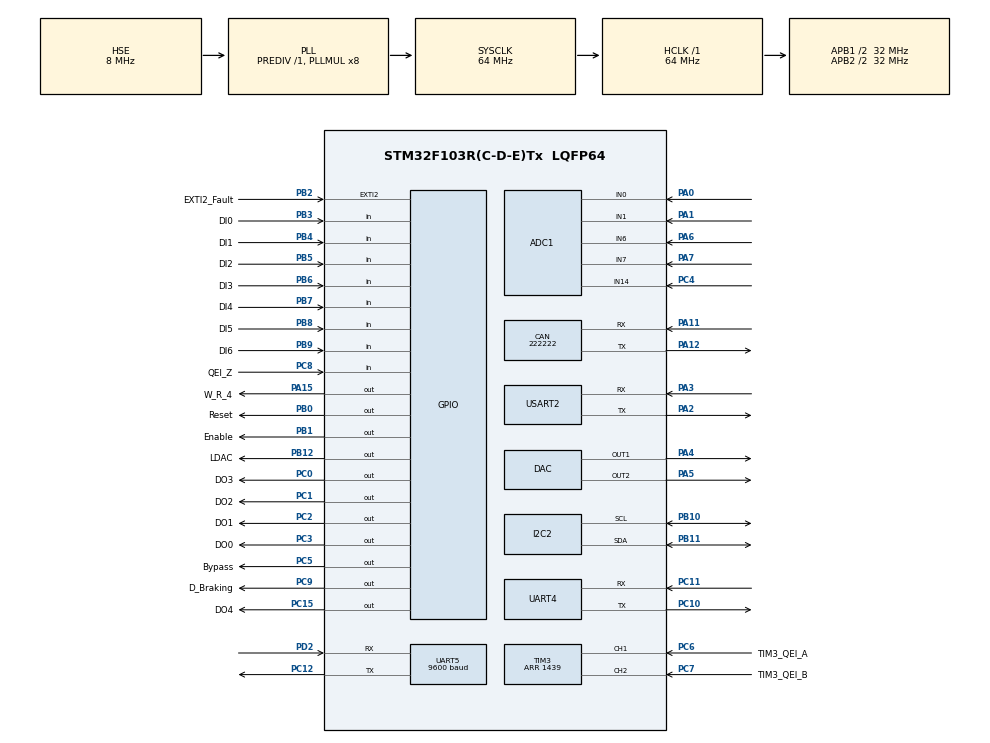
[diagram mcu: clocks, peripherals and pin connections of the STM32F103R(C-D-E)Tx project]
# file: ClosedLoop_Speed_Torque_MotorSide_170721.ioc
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ADC1.Channel-1\#ChannelRegularConversion=ADC_CHANNEL_0
ADC1.Channel-2\#ChannelRegularConversion=ADC_CHANNEL_1
ADC1.Channel-3\#ChannelRegularConversion=ADC_CHANNEL_6
ADC1.Channel-4\#ChannelRegularConversion=ADC_CHANNEL_7
ADC1.Channel-5\#ChannelRegularConversion=ADC_CHANNEL_14
ADC1.EnableRegularConversion=ENABLE
ADC1.NbrOfConversion=5
ADC1.NbrOfConversionFlag=1
ADC1.Rank-1\#ChannelRegularConversion=1
ADC1.Rank-2\#ChannelRegularConversion=2
ADC1.Rank-3\#ChannelRegularConversion=3
ADC1.Rank-4\#ChannelRegularConversion=4
ADC1.Rank-5\#ChannelRegularConversion=5
ADC1.SamplingTime-1\#ChannelRegularConversion=ADC_SAMPLETIME_1CYCLE_5
ADC1.SamplingTime-2\#ChannelRegularConversion=ADC_SAMPLETIME_1CYCLE_5
ADC1.SamplingTime-3\#ChannelRegularConversion=ADC_SAMPLETIME_1CYCLE_5
ADC1.SamplingTime-4\#ChannelRegularConversion=ADC_SAMPLETIME_1CYCLE_5
ADC1.SamplingTime-5\#ChannelRegularConversion=ADC_SAMPLETIME_1CYCLE_5
ADC1.master=1
CAN.ABOM=ENABLE
CAN.AWUM=ENABLE
CAN.BS1=CAN_BS1_3TQ
CAN.BS2=CAN_BS2_5TQ
CAN.CalculateBaudRate=222222
CAN.CalculateTimeBit=4500.00
CAN.CalculateTimeQuantum=500.0
Dma.ADC1.0.Direction=DMA_PERIPH_TO_MEMORY
Dma.ADC1.0.Instance=DMA1_Channel1
Dma.ADC1.0.MemDataAlignment=DMA_MDATAALIGN_HALFWORD
Dma.ADC1.0.MemInc=DMA_MINC_ENABLE
Dma.ADC1.0.Mode=DMA_NORMAL
Dma.ADC1.0.PeriphDataAlignment=DMA_PDATAALIGN_HALFWORD
Dma.ADC1.0.PeriphInc=DMA_PINC_DISABLE
Dma.ADC1.0.Priority=DMA_PRIORITY_VERY_HIGH
Dma.Request0=ADC1
I2C2.GeneralCallMode=I2C_GENERALCALL_ENABLE
I2C2.I2C_Mode=I2C_Standard
IWDG.Prescaler=IWDG_PRESCALER_256
IWDG.Reload=312
Mcu.Family=STM32F1
Mcu.Name=STM32F103R(C-D-E)Tx
Mcu.Package=LQFP64
NVIC.DMA1_Channel1_IRQn=true\:0\:0\:false\:false\:true\:false\:true
NVIC.EXTI2_IRQn=true\:0\:0\:false\:false\:true\:true\:true
NVIC.I2C2_ER_IRQn=true\:0\:0\:false\:false\:true\:true\:true
NVIC.I2C2_EV_IRQn=true\:0\:0\:false\:false\:true\:true\:true
NVIC.PriorityGroup=NVIC_PRIORITYGROUP_4
NVIC.TIM2_IRQn=true\:0\:0\:false\:false\:true\:true\:true
NVIC.TIM3_IRQn=true\:0\:0\:false\:false\:true\:true\:true
NVIC.TIM4_IRQn=true\:0\:0\:false\:false\:true\:true\:true
NVIC.TIM5_IRQn=true\:0\:0\:false\:false\:true\:true\:true
NVIC.TIM6_IRQn=true\:0\:0\:false\:false\:true\:true\:true
NVIC.TIM8_UP_IRQn=true\:0\:0\:false\:false\:true\:true\:true
NVIC.UART4_IRQn=true\:0\:0\:false\:false\:true\:true\:true
NVIC.UART5_IRQn=true\:0\:0\:false\:false\:true\:true\:true
NVIC.USART2_IRQn=true\:0\:0\:false\:false\:true\:true\:true
NVIC.USB_LP_CAN1_RX0_IRQn=true\:0\:0\:false\:false\:true\:true\:true
PA0-WKUP.Signal=ADCx_IN0
PA1.Signal=ADCx_IN1
PA11.Mode=CAN_Activate
PA11.Signal=CAN_RX
PA12.Mode=CAN_Activate
PA12.Signal=CAN_TX
PA13.Mode=Serial_Wire
PA13.Signal=SYS_JTMS-SWDIO
PA14.Mode=Serial_Wire
PA14.Signal=SYS_JTCK-SWCLK
PA15.GPIO_Label=W_R_4
PA15.Signal=GPIO_Output
PA2.Mode=Asynchronous
PA2.Signal=USART2_TX
PA3.Mode=Asynchronous
PA3.Signal=USART2_RX
PA4.Signal=COMP_DAC1_group
PA5.Signal=COMP_DAC2_group
PA6.Signal=ADCx_IN6
PA7.Signal=ADCx_IN7
PB0.GPIO_Label=Reset
PB0.Signal=GPIO_Output
PB1.GPIO_Label=Enable
PB1.Signal=GPIO_Output
PB10.Mode=I2C
PB10.Signal=I2C2_SCL
PB11.Mode=I2C
PB11.Signal=I2C2_SDA
PB12.GPIO_Label=LDAC
PB12.Signal=GPIO_Output
PB2.GPIO_Label=EXTI2_Fault
PB2.GPIO_ModeDefaultEXTI=GPIO_MODE_IT_FALLING
PB2.GPIO_PuPd=GPIO_PULLUP
PB2.Signal=GPXTI2
PB3.GPIO_Label=DI0
PB3.GPIO_PuPd=GPIO_PULLUP
PB3.Signal=GPIO_Input
PB4.GPIO_Label=DI1
PB4.GPIO_PuPd=GPIO_PULLUP
PB4.Signal=GPIO_Input
PB5.GPIO_Label=DI2
PB5.GPIO_PuPd=GPIO_PULLUP
PB5.Signal=GPIO_Input
PB6.GPIO_Label=DI3
PB6.GPIO_PuPd=GPIO_PULLUP
PB6.Signal=GPIO_Input
PB7.GPIO_Label=DI4
PB7.GPIO_PuPd=GPIO_PULLUP
PB7.Signal=GPIO_Input
PB8.GPIO_Label=DI5
PB8.GPIO_PuPd=GPIO_PULLUP
PB8.Signal=GPIO_Input
PB9.GPIO_Label=DI6
PB9.GPIO_PuPd=GPIO_PULLUP
PB9.Signal=GPIO_Input
PC0.GPIO_Label=DO3
PC0.Signal=GPIO_Output
PC1.GPIO_Label=DO2
PC1.Signal=GPIO_Output
PC10.Mode=Asynchronous
PC10.Signal=UART4_TX
PC11.Mode=Asynchronous
PC11.Signal=UART4_RX
PC12.Mode=Asynchronous
PC12.Signal=UART5_TX
PC15-OSC32_OUT.GPIO_Label=DO4
PC15-OSC32_OUT.Signal=GPIO_Output
PC2.GPIO_Label=DO1
PC2.Signal=GPIO_Output
PC3.GPIO_Label=DO0
PC3.Signal=GPIO_Output
PC4.Signal=ADCx_IN14
PC5.GPIO_Label=Bypass
PC5.Signal=GPIO_Output
PC6.GPIO_Label=TIM3_QEI_A
PC6.GPIO_Mode=GPIO_MODE_INPUT
PC6.GPIO_PuPd=GPIO_PULLUP
PC6.Signal=S_TIM3_CH1
PC7.GPIO_Label=TIM3_QEI_B
PC7.GPIO_Mode=GPIO_MODE_INPUT
PC7.GPIO_PuPd=GPIO_PULLUP
PC7.Signal=S_TIM3_CH2
PC8.GPIO_Label=QEI_Z
PC8.GPIO_PuPd=GPIO_PULLUP
PC8.Signal=GPIO_Input
PC9.GPIO_Label=D_Braking
PC9.Signal=GPIO_Output
PD0-OSC_IN.Mode=HSE-External-Oscillator
PD0-OSC_IN.Signal=RCC_OSC_IN
PD1-OSC_OUT.Mode=HSE-External-Oscillator
PD1-OSC_OUT.Signal=RCC_OSC_OUT
PD2.Mode=Asynchronous
PD2.Signal=UART5_RX
ProjectManager.HeapSize=0x200
ProjectManager.StackSize=0x400
ProjectManager.TargetToolchain=MDK-ARM V5.27
RCC.ADCPresc=RCC_ADCPCLK2_DIV4
RCC.AHBFreq_Value=64000000
RCC.APB1CLKDivider=RCC_HCLK_DIV2
RCC.APB1Freq_Value=32000000
RCC.APB1TimFreq_Value=64000000
RCC.APB2CLKDivider=RCC_HCLK_DIV2
RCC.APB2Freq_Value=32000000
RCC.APB2TimFreq_Value=64000000
RCC.HCLKFreq_Value=64000000
RCC.PLLMUL=RCC_PLL_MUL8
RCC.PLLSourceVirtual=RCC_PLLSOURCE_HSE
RCC.SYSCLKFreq_VALUE=64000000
RCC.SYSCLKSource=RCC_SYSCLKSOURCE_PLLCLK
RCC.USBFreq_Value=64000000
SH.ADCx_IN0.0=ADC1_IN0,IN0
SH.ADCx_IN1.0=ADC1_IN1,IN1
SH.ADCx_IN14.0=ADC1_IN14,IN14
SH.ADCx_IN6.0=ADC1_IN6,IN6
SH.ADCx_IN7.0=ADC1_IN7,IN7
SH.COMP_DAC1_group.0=DAC_OUT1,DAC_OUT1
SH.COMP_DAC2_group.0=DAC_OUT2,DAC_OUT2
SH.S_TIM3_CH1.0=TIM3_CH1,Encoder_Interface
SH.S_TIM3_CH2.0=TIM3_CH2,Encoder_Interface
TIM2.AutoReloadPreload=TIM_AUTORELOAD_PRELOAD_ENABLE
TIM2.Period=63999
TIM2.Prescaler=9
TIM3.AutoReloadPreload=TIM_AUTORELOAD_PRELOAD_ENABLE
TIM3.EncoderMode=TIM_ENCODERMODE_TI12
TIM3.IC1Filter=10
TIM3.IC2Filter=10
TIM3.Period=1439
TIM4.AutoReloadPreload=TIM_AUTORELOAD_PRELOAD_ENABLE
TIM4.Period=63999
TIM4.Prescaler=99
TIM5.AutoReloadPreload=TIM_AUTORELOAD_PRELOAD_ENABLE
TIM5.Period=63999
TIM5.Prescaler=999
TIM6.AutoReloadPreload=TIM_AUTORELOAD_PRELOAD_ENABLE
TIM6.Period=31999
TIM8.AutoReloadPreload=TIM_AUTORELOAD_PRELOAD_ENABLE
TIM8.Period=63999
TIM8.Prescaler=19
UART4.VirtualMode=Asynchronous
UART5.BaudRate=9600
UART5.VirtualMode=Asynchronous
USART2.VirtualMode=VM_ASYNC
VP_CRC_VS_CRC.Mode=CRC_Activate
VP_IWDG_VS_IWDG.Mode=IWDG_Activate
VP_TIM2_VS_ClockSourceINT.Mode=Internal
VP_TIM4_VS_ClockSourceINT.Mode=Internal
VP_TIM5_VS_ClockSourceINT.Mode=Internal
VP_TIM6_VS_ClockSourceINT.Mode=Enable_Timer
VP_TIM8_VS_ClockSourceINT.Mode=Internal
board=custom

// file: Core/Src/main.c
/* USER CODE BEGIN Header */
/**
  ******************************************************************************
  * @file           : main.c
  * @brief          : Main program body
  ******************************************************************************
  * @attention
  *
  * <h2><center>&copy; Copyright (c) 2021 STMicroelectronics.
  * All rights reserved.</center></h2>
  *
  * This software component is licensed by ST under BSD 3-Clause license,
  * the "License"; You may not use this file except in compliance with the
  * License. You may obtain a copy of the License at:
  *                        opensource.org/licenses/BSD-3-Clause
  *
  ******************************************************************************
  */
/* USER CODE END Header */
#include "main.h"

/* USER CODE BEGIN Includes */
#include "stdio.h"
/* USER CODE END Includes */

ADC_HandleTypeDef hadc1;
DMA_HandleTypeDef hdma_adc1;

CAN_HandleTypeDef hcan;

CRC_HandleTypeDef hcrc;

DAC_HandleTypeDef hdac;

I2C_HandleTypeDef hi2c2;

IWDG_HandleTypeDef hiwdg;

TIM_HandleTypeDef htim2;
TIM_HandleTypeDef htim3;
TIM_HandleTypeDef htim4;
TIM_HandleTypeDef htim5;
TIM_HandleTypeDef htim6;
TIM_HandleTypeDef htim8;

UART_HandleTypeDef huart4;
UART_HandleTypeDef huart5;
UART_HandleTypeDef huart2;

/* USER CODE BEGIN PV */
/*uart data*/
extern usartData usart2_Tx, usart2_Rx;		//ESP32 - Wifi
extern usartData usart4_Tx, usart4_Rx; 		//RS485
extern usartData usart5_Tx, usart5_Rx; 		//HMI
extern timer_Objt Tim_1ms[MaxTIMER];					//1ms software timer
extern timer_Objt Tim_10ms[MaxTIMER];				//10ms software timer
extern timer_Objt Tim_20ms[MaxTIMER];				//20ms software timer
extern timer_Objt Tim_100ms[MaxTIMER];			//100ms software timer
extern timer_Objt Tim_200ms[MaxTIMER];			//200ms software timer
extern timer_Objt Tim_1s[MaxTIMER];						//1s software timer
extern uint16_t tim1msTick, tim10msTick, tim20msTick, tim100msTick, tim200msTick, tim1sTick;
/*ADC data*/
extern adc_Objt adc_Objt_var;
extern uint16_t adc_data[7];
/*DAC data*/
extern DAC_OUT stDAC_Var;
//2nd Order Unity-Gain LPF
extern LPF stLPF_Var[NumOfLPF];
//PI speed controller
extern cPI stPI_Speed, stPI_Ia;
//State machine
extern machine_Control stMControl_Var;
extern machine_Parameter stMachine_Var;
//RAMP Generator (Ampere with Ia, and rpm with Speed)
extern RAMP stRamp_Ia, stRamp_If, stRamp_Speed, stRamp_Vol;
//Quadrature Encoder
extern QEI stQEI_Var;
//NEXTION HMI
extern NEXTION NEXVar;
uint8_t FirstCycle = 0;
/* USER CODE END PV */

void SystemClock_Config(void);
static void MX_GPIO_Init(void);
static void MX_DMA_Init(void);
static void MX_ADC1_Init(void);
static void MX_DAC_Init(void);
static void MX_TIM2_Init(void);
static void MX_TIM3_Init(void);
static void MX_UART4_Init(void);
static void MX_USART2_UART_Init(void);
static void MX_CRC_Init(void);
static void MX_IWDG_Init(void);
static void MX_I2C2_Init(void);
static void MX_UART5_Init(void);
static void MX_TIM4_Init(void);
static void MX_TIM5_Init(void);
static void MX_TIM8_Init(void);
static void MX_CAN_Init(void);
static void MX_TIM6_Init(void);

int main(void)
{
  /* USER CODE BEGIN 1 */
	static uint32_t Cnt = 0;
	uint8_t i = 0;
  /* USER CODE END 1 */

  /* MCU Configuration--------------------------------------------------------*/

  /* Reset of all peripherals, Initializes the Flash interface and the Systick. */
  HAL_Init();

  /* Configure the system clock */
  SystemClock_Config();

  /* Initialize all configured peripherals */
  MX_GPIO_Init();
  MX_DMA_Init();
  MX_ADC1_Init();
  MX_DAC_Init();
  MX_TIM2_Init();
  MX_TIM3_Init();
  MX_UART4_Init();
  MX_USART2_UART_Init();
  MX_CRC_Init();
  MX_IWDG_Init();
  MX_I2C2_Init();
  MX_UART5_Init();
  MX_TIM4_Init();
  MX_TIM5_Init();
  MX_TIM8_Init();
  MX_CAN_Init();
  MX_TIM6_Init();
  /* USER CODE BEGIN 2 */
	IWDG->KR = 0xAAAA; // Writing 0xAAAA in the Key register prevents watchdog reset
	IWDG->KR = 0xCCCC; // Start the independent watchdog timer

	HAL_GPIO_WritePin(W_R_4_GPIO_Port, W_R_4_Pin,GPIO_PIN_RESET);			//RS485 In Receive mode
	HAL_UART_Receive_IT(&huart2, &usart2_Rx.rxByte,1);								//Init usart2 interrupt
	HAL_UART_Receive_IT(&huart4, &usart4_Rx.rxByte,1);								//Init usart4 interrupt
	HAL_UART_Receive_IT (&huart5, &usart5_Rx.rxByte, 1);							//Init usart5 interrupt

	HAL_TIM_Base_Start_IT(&htim2);																		//Enable Timer interrupts - 10ms
	HAL_TIM_Base_Start_IT(&htim3);																		//Enable Timer interrupts - ENCODER Mode
	HAL_TIM_Base_Start_IT(&htim4);																		//Enable Timer interrupts - 100ms
	HAL_TIM_Base_Start_IT(&htim5);																		//Enable Timer interrupts - 1s
	HAL_TIM_Base_Start_IT(&htim6);																		//Enable Timer interrupts - 1ms
	HAL_TIM_Base_Start_IT(&htim8);																		//Enable Timer interrupts - 20ms
	HAL_TIM_Encoder_Start(&htim3, TIM_CHANNEL_ALL);										//Start Encoder

	//Calibrate the ADC
	HAL_ADCEx_Calibration_Start(&hadc1);
	//Initialize DC motor parameters
	vMachineParameterConfig(&stMachine_Var);
	//State machine Initialize
	vStateMachineConfig(&stMControl_Var, &stMachine_Var);
	//Initialize adc data
	vAdc_DataInit(&adc_Objt_var, &stMachine_Var);
	//Start DAC
	HAL_DAC_Start(&hdac, DAC_CHANNEL_1);
	HAL_DAC_Start(&hdac, DAC_CHANNEL_2);
	//Initialize DAC data
	vDAC_Init(&stDAC_Var);
	//Generate Excitation current reference
	vDAC_Write(&stDAC_Var, DAC_IfRefChannel, (stMachine_Var.Va_rated/stMControl_Var.Vdc_Nom)*DAC_MAX_Vout);
	//Torque current reference = 0
	vDAC_Write(&stDAC_Var, DAC_DutyCycle, 0);
	//Timers initialize
	vTim_Start(&Tim_1ms[0],1);					//Create 1ms time tick
	vTim_Start(&Tim_10ms[0],1);					//Create 10ms time tick
	vTim_Start(&Tim_20ms[0],1);					//Create 20ms time tick
	vTim_Start(&Tim_100ms[0],1);				//Create 100ms time tick
	vTim_Start(&Tim_200ms[0],1);				//Create 100ms time tick
	vTim_Start(&Tim_1s[0],1);						//Create 1s time tick

	tim1msTick = 0;
	tim10msTick = 0;
	tim20msTick = 0;
	tim100msTick = 0;
	tim200msTick = 0;
	tim1sTick = 0;
	//Low pass filter initialize
	vLPF_Init(&stLPF_Var[0], 100, 0.0005);		//LPF0 - For TorqueSP filter
	vLPF_Init(&stLPF_Var[1], 100, 0.0005);		//LPF1 - For SpeedSP filter
	vLPF_Init(&stLPF_Var[2], 100, 0.0005);		//LPF2 - For Ia filter
	vLPF_Init(&stLPF_Var[3], 100, 0.0005);		//LPF3 - For If filter
	vLPF_Init(&stLPF_Var[4], 10, 0.0005);			//LPF4 - For Vbus filter
	vLPF_Init(&stLPF_Var[5], 50, 0.0005);			//LPF5 - For dia/dt filter
	vLPF_Init(&stLPF_Var[6], 10, 0.0005);			//LPF6 - For EsSpeed filter
	//GPIO Initialize
	vDIO_Init();
	//Serial ports initialize
	vUsart_DataInit(&usart2_Rx);
	vUsart_DataInit(&usart4_Rx);
	vUsart_DataInit(&usart5_Rx);
	//Config PI Speed Controller 10ms sampling time
	vPI_Init(&stPI_Speed, 1, 0.1, 0.01, adc_Objt_var.MaxSpeedSP, adc_Objt_var.MaxTorqueSP);
	//Config PI amature current controller with 0.5ms sampling time
	//vPI_Init(&stPI_Ia, 1, 0.1, 0.0005, adc_Objt_var.MaxIaSP, (stMachine_Var.Va_rated/stMControl_Var.Vdc_Nom)*DAC_MAX_Vout);
	vPI_Init(&stPI_Ia, 1, 0.1, 0.0005, adc_Objt_var.MaxIaSP, (280.0/stMControl_Var.Vdc_Nom)*DAC_MAX_Vout);
	//Config Quadrature Encoder
	vQEI_Config(&stQEI_Var,360,4,0.01);
	//Config Ramp function generator
	vRamp_Config(&stRamp_Ia, 10, 10, 0, stMachine_Var.Ia_rated, 0.0005);
	vRamp_Config(&stRamp_If, 10, 10, 0, stMachine_Var.If_rated, 0.01);
	vRamp_Config(&stRamp_Speed, 10, 10, 0, stMachine_Var.Speed_rated, 0.01);
	vRamp_Config(&stRamp_Vol, 10, 10, 0, stMachine_Var.Va_rated, 0.01);
	//Config Nextion HMI
	vNEXTION_Init(&NEXVar);
  /* USER CODE END 2 */

  /* Infinite loop */
  /* USER CODE BEGIN WHILE */
  while (1)
  {
		//Scan the software timer
		if(tim1msTick ==1)
		{
			tim1msTick = 0;
			vTim_Scan(Tim_1ms);
		}
		if(tim10msTick ==1)
		{
			tim10msTick = 0;
			vTim_Scan(Tim_10ms);
		}

		if(tim20msTick ==1)
		{
			tim20msTick = 0;
			vTim_Scan(Tim_20ms);
		}

		if(tim100msTick == 1)
		{
			tim100msTick = 0;
			vTim_Scan(Tim_100ms);
		}

		if(tim200msTick == 1)
		{
			tim200msTick = 0;
			vTim_Scan(Tim_200ms);
		}
		if(tim1sTick == 1)
		{
			tim1sTick = 0;
			vTim_Scan(Tim_1s);
		}

		//Run Regular Timer Task
		if(Tim_1ms[0].En==1 && Tim_1ms[0].Output==1)			//1ms event
		{
			if(FirstCycle == 1)
			{
				//vSafetyChainHandle(&adc_Objt_var, &stMControl_Var, &stQEI_Var);
			}
			//Reset timer
			Tim_1ms[0].Output = 0;
		}
		if(Tim_10ms[0].En==1 && Tim_10ms[0].Output==1)		//10ms event
		{
			if(FirstCycle==1)
			{
				//GPIO Task
				vDI_Scan();
				vDIO_Task(&stMControl_Var);
			}
			//Reset timer
			Tim_10ms[0].Output = 0;
		}
		if(Tim_20ms[0].En==1 && Tim_20ms[0].Output==1)		//20ms event
		{

			//Reset timer
			Tim_20ms[0].Output = 0;
		}
		if(Tim_100ms[0].En==1 && Tim_100ms[0].Output==1)	//100ms event
		{
			if(Tim_100ms[0].OvfCnt == 5)
			{
				tim200msTick = 1;
				Tim_100ms[0].OvfCnt = 0;
			}

			if(FirstCycle==1)
			{
				/*Communication task*/
				//Send data to ESP32
				//vUsart_TxHandle(&adc_Objt_var,&stMControl_Var, &stRamp_Ia, &stRamp_Speed, &usart2_Tx, 2, 0x31);
			}
			//Reset timer
			Tim_100ms[0].Output = 0;
		}

		if(Tim_200ms[0].En==1 && Tim_200ms[0].Output==1)	//200ms event
		{
			if(FirstCycle==1)
			{
				/*Communication task*/
				vNEXTION_DisplayHandle(&adc_Objt_var, &stMControl_Var, &stPI_Speed, &stPI_Ia,
				&stRamp_Ia, &stRamp_Speed, &stQEI_Var, &stMachine_Var, &NEXVar);
			}
			//Reset timer
			Tim_200ms[0].Output = 0;
		}

		if(Tim_1s[0].En==1 && Tim_1s[0].Output==1)				//1s event
		{
			if(FirstCycle == 0)
			{
				if(++Cnt>2)
				{
					//First cycle task - Once time only
					//Close the bypass contactor
					HAL_GPIO_WritePin(Bypass_GPIO_Port, Bypass_Pin, GPIO_PIN_SET);
					HAL_GPIO_WritePin(DO0_GPIO_Port, DO0_Pin, GPIO_PIN_SET);
					stMControl_Var.chState = DOL;

					FirstCycle = 1;
					Cnt = 0;
				}
			}
			//Reset timer
			Tim_1s[0].Output = 0;
		}
    /* USER CODE END WHILE */

    /* USER CODE BEGIN 3 */
		//ESP32 ports scan
		if(usart2_Rx.RxFlag == 1)
		{

			usart2_Rx.RxFlag = 0;
			usart2_Rx.STATE = USART_WAIT;
		}
		//RS485 ports scan
		if(usart4_Rx.RxFlag == 1)
		{
			/*Send data via RS485*/
			vUsart4_RxHandle(&usart4_Rx,&usart4_Tx,&stMControl_Var,&adc_Objt_var);
			usart4_Rx.RxFlag = 0;
			usart4_Rx.STATE = USART_WAIT;
		}
		//HMI ports scan
		if(usart5_Rx.RxFlag == 1)
		{
			vUsart5_rxHandle(&usart5_Rx, &NEXVar, &stMControl_Var);
			usart5_Rx.RxFlag = 0;
			usart5_Rx.STATE = USART_WAIT;
		}
		if(usart5_Rx.NEXTION_Flag == 1)
		{
			vNEXTION_RecvRetNumHandle(usart5_Rx.NEXTION_RetCode);
			usart5_Rx.NEXTION_Flag = 0;
		}

		//Time out handle
		if(Tim_1s[1].En==1 && Tim_1s[1].Output==1)				//HMI port timeout
		{
			//Clear NEXTIO_Buff
			for(i=0;i<4;i++)
			{
				usart5_Rx.NEXTION_Buff[i] = 0;
			}
			usart5_Rx.NEXTION_Pointer = 0;
			usart5_Rx.NEXTION_Flag = 0;
			usart5_Rx.NEXTION_RetCode = 0;
			vTim_Stop(&Tim_1s[1]);
		}

		if(Tim_1s[2].En==1 && Tim_1s[2].Output==1)				//ESP32 Port time out
		{
			vUSART_RxTimeOutHandle(&usart2_Rx);
			vTim_Stop(&Tim_1s[2]);
		}

		if(Tim_1s[3].En==1 && Tim_1s[3].Output==1)				//RS485 Port time out
		{
			vUSART_RxTimeOutHandle(&usart4_Rx);
			vTim_Stop(&Tim_1s[3]);
		}
		if(Tim_1s[4].En==1 && Tim_1s[4].Output==1)				//HMI Time out (Button, Gauge ... )
		{
			vUSART_RxTimeOutHandle(&usart5_Rx);
			vTim_Stop(&Tim_1s[4]);
		}
		if(Tim_1s[5].En==1 && Tim_1s[5].Output==1)				//Amature current is too high
		{
			stMControl_Var.mState = mSTOP;
			stMControl_Var.Ia_State = FAULT_H;							//Ia Over Current
			vTim_Stop(&Tim_1s[5]);
		}
		if(Tim_1s[6].En==1 && Tim_1s[6].Output==1)				//Excitation current is too High
		{
			stMControl_Var.mState = mFAULT;
			stMControl_Var.If_State = FAULT_H;
			vTim_Stop(&Tim_1s[6]);
		}
		if(Tim_1s[7].En==1 && Tim_1s[7].Output==1)				//Excitation current is too Low
		{
			stMControl_Var.mState = mFAULT;
			stMControl_Var.If_State = FAULT_L;
			vTim_Stop(&Tim_1s[7]);
		}
		if(Tim_1s[8].En==1 && Tim_1s[8].Output==1)				//Low Vdc
		{
			stMControl_Var.mState = mFAULT;
			stMControl_Var.Vdc_State = FAULT_L;
			vTim_Stop(&Tim_1s[8]);
		}
		if(Tim_1s[9].En==1 && Tim_1s[9].Output==1)				//High Vdc
		{
			stMControl_Var.mState = mFAULT;
			stMControl_Var.Vdc_State = FAULT_H;
			vTim_Stop(&Tim_1s[9]);
		}
		if(Tim_1s[10].En==1 && Tim_1s[10].Output==1)			//High Speed
		{
			stMControl_Var.mState = mFAULT;
			stMControl_Var.Speed_State = FAULT_H;
			vTim_Stop(&Tim_1s[10]);
		}
		IWDG->KR = 0xAAAA; // Writing 0xAAAA in the Key register prevents watchdog reset
  }
  /* USER CODE END 3 */
}

void SystemClock_Config(void)
{
  RCC_OscInitTypeDef RCC_OscInitStruct = {0};
  RCC_ClkInitTypeDef RCC_ClkInitStruct = {0};
  RCC_PeriphCLKInitTypeDef PeriphClkInit = {0};

  /** Initializes the RCC Oscillators according to the specified parameters
  * in the RCC_OscInitTypeDef structure.
  */
  RCC_OscInitStruct.OscillatorType = RCC_OSCILLATORTYPE_LSI|RCC_OSCILLATORTYPE_HSE;
  RCC_OscInitStruct.HSEState = RCC_HSE_ON;
  RCC_OscInitStruct.HSEPredivValue = RCC_HSE_PREDIV_DIV1;
  RCC_OscInitStruct.HSIState = RCC_HSI_ON;
  RCC_OscInitStruct.LSIState = RCC_LSI_ON;
  RCC_OscInitStruct.PLL.PLLState = RCC_PLL_ON;
  RCC_OscInitStruct.PLL.PLLSource = RCC_PLLSOURCE_HSE;
  RCC_OscInitStruct.PLL.PLLMUL = RCC_PLL_MUL8;
  if (HAL_RCC_OscConfig(&RCC_OscInitStruct) != HAL_OK)
  {
    Error_Handler();
  }
  /** Initializes the CPU, AHB and APB buses clocks
  */
  RCC_ClkInitStruct.ClockType = RCC_CLOCKTYPE_HCLK|RCC_CLOCKTYPE_SYSCLK
                              |RCC_CLOCKTYPE_PCLK1|RCC_CLOCKTYPE_PCLK2;
  RCC_ClkInitStruct.SYSCLKSource = RCC_SYSCLKSOURCE_PLLCLK;
  RCC_ClkInitStruct.AHBCLKDivider = RCC_SYSCLK_DIV1;
  RCC_ClkInitStruct.APB1CLKDivider = RCC_HCLK_DIV2;
  RCC_ClkInitStruct.APB2CLKDivider = RCC_HCLK_DIV2;

  if (HAL_RCC_ClockConfig(&RCC_ClkInitStruct, FLASH_LATENCY_2) != HAL_OK)
  {
    Error_Handler();
  }
  PeriphClkInit.PeriphClockSelection = RCC_PERIPHCLK_ADC;
  PeriphClkInit.AdcClockSelection = RCC_ADCPCLK2_DIV4;
  if (HAL_RCCEx_PeriphCLKConfig(&PeriphClkInit) != HAL_OK)
  {
    Error_Handler();
  }
}

static void MX_ADC1_Init(void)
{

  ADC_ChannelConfTypeDef sConfig = {0};

  /** Common config
  */
  hadc1.Instance = ADC1;
  hadc1.Init.ScanConvMode = ADC_SCAN_ENABLE;
  hadc1.Init.ContinuousConvMode = DISABLE;
  hadc1.Init.DiscontinuousConvMode = DISABLE;
  hadc1.Init.ExternalTrigConv = ADC_SOFTWARE_START;
  hadc1.Init.DataAlign = ADC_DATAALIGN_RIGHT;
  hadc1.Init.NbrOfConversion = 5;
  if (HAL_ADC_Init(&hadc1) != HAL_OK)
  {
    Error_Handler();
  }
  /** Configure Regular Channel
  */
  sConfig.Channel = ADC_CHANNEL_0;
  sConfig.Rank = ADC_REGULAR_RANK_1;
  sConfig.SamplingTime = ADC_SAMPLETIME_1CYCLE_5;
  if (HAL_ADC_ConfigChannel(&hadc1, &sConfig) != HAL_OK)
  {
    Error_Handler();
  }
  /** Configure Regular Channel
  */
  sConfig.Channel = ADC_CHANNEL_1;
  sConfig.Rank = ADC_REGULAR_RANK_2;
  if (HAL_ADC_ConfigChannel(&hadc1, &sConfig) != HAL_OK)
  {
    Error_Handler();
  }
  /** Configure Regular Channel
  */
  sConfig.Channel = ADC_CHANNEL_6;
  sConfig.Rank = ADC_REGULAR_RANK_3;
  if (HAL_ADC_ConfigChannel(&hadc1, &sConfig) != HAL_OK)
  {
    Error_Handler();
  }
  /** Configure Regular Channel
  */
  sConfig.Channel = ADC_CHANNEL_7;
  sConfig.Rank = ADC_REGULAR_RANK_4;
  if (HAL_ADC_ConfigChannel(&hadc1, &sConfig) != HAL_OK)
  {
    Error_Handler();
  }
  /** Configure Regular Channel
  */
  sConfig.Channel = ADC_CHANNEL_14;
  sConfig.Rank = ADC_REGULAR_RANK_5;
  if (HAL_ADC_ConfigChannel(&hadc1, &sConfig) != HAL_OK)
  {
    Error_Handler();
  }

}

static void MX_CAN_Init(void)
{

  hcan.Instance = CAN1;
  hcan.Init.Prescaler = 16;
  hcan.Init.Mode = CAN_MODE_NORMAL;
  hcan.Init.SyncJumpWidth = CAN_SJW_1TQ;
  hcan.Init.TimeSeg1 = CAN_BS1_3TQ;
  hcan.Init.TimeSeg2 = CAN_BS2_5TQ;
  hcan.Init.TimeTriggeredMode = DISABLE;
  hcan.Init.AutoBusOff = ENABLE;
  hcan.Init.AutoWakeUp = ENABLE;
  hcan.Init.AutoRetransmission = DISABLE;
  hcan.Init.ReceiveFifoLocked = DISABLE;
  hcan.Init.TransmitFifoPriority = DISABLE;
  if (HAL_CAN_Init(&hcan) != HAL_OK)
  {
    Error_Handler();
  }

}

static void MX_CRC_Init(void)
{

  hcrc.Instance = CRC;
  if (HAL_CRC_Init(&hcrc) != HAL_OK)
  {
    Error_Handler();
  }

}

static void MX_DAC_Init(void)
{

  DAC_ChannelConfTypeDef sConfig = {0};

  /** DAC Initialization
  */
  hdac.Instance = DAC;
  if (HAL_DAC_Init(&hdac) != HAL_OK)
  {
    Error_Handler();
  }
  /** DAC channel OUT1 config
  */
  sConfig.DAC_Trigger = DAC_TRIGGER_NONE;
  sConfig.DAC_OutputBuffer = DAC_OUTPUTBUFFER_ENABLE;
  if (HAL_DAC_ConfigChannel(&hdac, &sConfig, DAC_CHANNEL_1) != HAL_OK)
  {
    Error_Handler();
  }
  /** DAC channel OUT2 config
  */
  if (HAL_DAC_ConfigChannel(&hdac, &sConfig, DAC_CHANNEL_2) != HAL_OK)
  {
    Error_Handler();
  }

}

static void MX_I2C2_Init(void)
{

  hi2c2.Instance = I2C2;
  hi2c2.Init.ClockSpeed = 100000;
  hi2c2.Init.DutyCycle = I2C_DUTYCYCLE_2;
  hi2c2.Init.OwnAddress1 = 0;
  hi2c2.Init.AddressingMode = I2C_ADDRESSINGMODE_7BIT;
  hi2c2.Init.DualAddressMode = I2C_DUALADDRESS_DISABLE;
  hi2c2.Init.OwnAddress2 = 0;
  hi2c2.Init.GeneralCallMode = I2C_GENERALCALL_ENABLE;
  hi2c2.Init.NoStretchMode = I2C_NOSTRETCH_DISABLE;
  if (HAL_I2C_Init(&hi2c2) != HAL_OK)
  {
    Error_Handler();
  }

}

static void MX_IWDG_Init(void)
{

  hiwdg.Instance = IWDG;
  hiwdg.Init.Prescaler = IWDG_PRESCALER_256;
  hiwdg.Init.Reload = 312;
  if (HAL_IWDG_Init(&hiwdg) != HAL_OK)
  {
    Error_Handler();
  }

}

static void MX_TIM2_Init(void)
{

  TIM_ClockConfigTypeDef sClockSourceConfig = {0};
  TIM_MasterConfigTypeDef sMasterConfig = {0};

  htim2.Instance = TIM2;
  htim2.Init.Prescaler = 9;
  htim2.Init.CounterMode = TIM_COUNTERMODE_UP;
  htim2.Init.Period = 63999;
  htim2.Init.ClockDivision = TIM_CLOCKDIVISION_DIV1;
  htim2.Init.AutoReloadPreload = TIM_AUTORELOAD_PRELOAD_ENABLE;
  if (HAL_TIM_Base_Init(&htim2) != HAL_OK)
  {
    Error_Handler();
  }
  sClockSourceConfig.ClockSource = TIM_CLOCKSOURCE_INTERNAL;
  if (HAL_TIM_ConfigClockSource(&htim2, &sClockSourceConfig) != HAL_OK)
  {
    Error_Handler();
  }
  sMasterConfig.MasterOutputTrigger = TIM_TRGO_RESET;
  sMasterConfig.MasterSlaveMode = TIM_MASTERSLAVEMODE_DISABLE;
  if (HAL_TIMEx_MasterConfigSynchronization(&htim2, &sMasterConfig) != HAL_OK)
  {
    Error_Handler();
  }

}

static void MX_TIM3_Init(void)
{

  TIM_Encoder_InitTypeDef sConfig = {0};
  TIM_MasterConfigTypeDef sMasterConfig = {0};

  htim3.Instance = TIM3;
  htim3.Init.Prescaler = 0;
  htim3.Init.CounterMode = TIM_COUNTERMODE_UP;
  htim3.Init.Period = 1439;
  htim3.Init.ClockDivision = TIM_CLOCKDIVISION_DIV1;
  htim3.Init.AutoReloadPreload = TIM_AUTORELOAD_PRELOAD_ENABLE;
  sConfig.EncoderMode = TIM_ENCODERMODE_TI12;
  sConfig.IC1Polarity = TIM_ICPOLARITY_RISING;
  sConfig.IC1Selection = TIM_ICSELECTION_DIRECTTI;
  sConfig.IC1Prescaler = TIM_ICPSC_DIV1;
  sConfig.IC1Filter = 10;
  sConfig.IC2Polarity = TIM_ICPOLARITY_RISING;
  sConfig.IC2Selection = TIM_ICSELECTION_DIRECTTI;
  sConfig.IC2Prescaler = TIM_ICPSC_DIV1;
  sConfig.IC2Filter = 10;
  if (HAL_TIM_Encoder_Init(&htim3, &sConfig) != HAL_OK)
  {
    Error_Handler();
  }
  sMasterConfig.MasterOutputTrigger = TIM_TRGO_RESET;
  sMasterConfig.MasterSlaveMode = TIM_MASTERSLAVEMODE_DISABLE;
  if (HAL_TIMEx_MasterConfigSynchronization(&htim3, &sMasterConfig) != HAL_OK)
  {
    Error_Handler();
  }

}

static void MX_TIM4_Init(void)
{

  TIM_ClockConfigTypeDef sClockSourceConfig = {0};
  TIM_MasterConfigTypeDef sMasterConfig = {0};

  htim4.Instance = TIM4;
  htim4.Init.Prescaler = 99;
  htim4.Init.CounterMode = TIM_COUNTERMODE_UP;
  htim4.Init.Period = 63999;
  htim4.Init.ClockDivision = TIM_CLOCKDIVISION_DIV1;
  htim4.Init.AutoReloadPreload = TIM_AUTORELOAD_PRELOAD_ENABLE;
  if (HAL_TIM_Base_Init(&htim4) != HAL_OK)
  {
    Error_Handler();
  }
  sClockSourceConfig.ClockSource = TIM_CLOCKSOURCE_INTERNAL;
  if (HAL_TIM_ConfigClockSource(&htim4, &sClockSourceConfig) != HAL_OK)
  {
    Error_Handler();
  }
  sMasterConfig.MasterOutputTrigger = TIM_TRGO_RESET;
  sMasterConfig.MasterSlaveMode = TIM_MASTERSLAVEMODE_DISABLE;
  if (HAL_TIMEx_MasterConfigSynchronization(&htim4, &sMasterConfig) != HAL_OK)
  {
    Error_Handler();
  }

}

static void MX_TIM5_Init(void)
{

  TIM_ClockConfigTypeDef sClockSourceConfig = {0};
  TIM_MasterConfigTypeDef sMasterConfig = {0};

  htim5.Instance = TIM5;
  htim5.Init.Prescaler = 999;
  htim5.Init.CounterMode = TIM_COUNTERMODE_UP;
  htim5.Init.Period = 63999;
  htim5.Init.ClockDivision = TIM_CLOCKDIVISION_DIV1;
  htim5.Init.AutoReloadPreload = TIM_AUTORELOAD_PRELOAD_ENABLE;
  if (HAL_TIM_Base_Init(&htim5) != HAL_OK)
  {
    Error_Handler();
  }
  sClockSourceConfig.ClockSource = TIM_CLOCKSOURCE_INTERNAL;
  if (HAL_TIM_ConfigClockSource(&htim5, &sClockSourceConfig) != HAL_OK)
  {
    Error_Handler();
  }
  sMasterConfig.MasterOutputTrigger = TIM_TRGO_RESET;
  sMasterConfig.MasterSlaveMode = TIM_MASTERSLAVEMODE_DISABLE;
  if (HAL_TIMEx_MasterConfigSynchronization(&htim5, &sMasterConfig) != HAL_OK)
  {
    Error_Handler();
  }

}

static void MX_TIM6_Init(void)
{

  TIM_MasterConfigTypeDef sMasterConfig = {0};

  htim6.Instance = TIM6;
  htim6.Init.Prescaler = 0;
  htim6.Init.CounterMode = TIM_COUNTERMODE_UP;
  htim6.Init.Period = 31999;
  htim6.Init.AutoReloadPreload = TIM_AUTORELOAD_PRELOAD_ENABLE;
  if (HAL_TIM_Base_Init(&htim6) != HAL_OK)
  {
    Error_Handler();
  }
  sMasterConfig.MasterOutputTrigger = TIM_TRGO_RESET;
  sMasterConfig.MasterSlaveMode = TIM_MASTERSLAVEMODE_DISABLE;
  if (HAL_TIMEx_MasterConfigSynchronization(&htim6, &sMasterConfig) != HAL_OK)
  {
    Error_Handler();
  }

}

static void MX_TIM8_Init(void)
{

  TIM_ClockConfigTypeDef sClockSourceConfig = {0};
  TIM_MasterConfigTypeDef sMasterConfig = {0};

  htim8.Instance = TIM8;
  htim8.Init.Prescaler = 19;
  htim8.Init.CounterMode = TIM_COUNTERMODE_UP;
  htim8.Init.Period = 63999;
  htim8.Init.ClockDivision = TIM_CLOCKDIVISION_DIV1;
  htim8.Init.RepetitionCounter = 0;
  htim8.Init.AutoReloadPreload = TIM_AUTORELOAD_PRELOAD_ENABLE;
  if (HAL_TIM_Base_Init(&htim8) != HAL_OK)
  {
    Error_Handler();
  }
  sClockSourceConfig.ClockSource = TIM_CLOCKSOURCE_INTERNAL;
  if (HAL_TIM_ConfigClockSource(&htim8, &sClockSourceConfig) != HAL_OK)
  {
    Error_Handler();
  }
  sMasterConfig.MasterOutputTrigger = TIM_TRGO_RESET;
  sMasterConfig.MasterSlaveMode = TIM_MASTERSLAVEMODE_DISABLE;
  if (HAL_TIMEx_MasterConfigSynchronization(&htim8, &sMasterConfig) != HAL_OK)
  {
    Error_Handler();
  }

}

static void MX_UART4_Init(void)
{

  huart4.Instance = UART4;
  huart4.Init.BaudRate = 19200;
  huart4.Init.WordLength = UART_WORDLENGTH_8B;
  huart4.Init.StopBits = UART_STOPBITS_1;
  huart4.Init.Parity = UART_PARITY_NONE;
  huart4.Init.Mode = UART_MODE_TX_RX;
  huart4.Init.HwFlowCtl = UART_HWCONTROL_NONE;
  huart4.Init.OverSampling = UART_OVERSAMPLING_16;
  if (HAL_UART_Init(&huart4) != HAL_OK)
  {
    Error_Handler();
  }

}

static void MX_UART5_Init(void)
{

  huart5.Instance = UART5;
  huart5.Init.BaudRate = 9600;
  huart5.Init.WordLength = UART_WORDLENGTH_8B;
  huart5.Init.StopBits = UART_STOPBITS_1;
  huart5.Init.Parity = UART_PARITY_NONE;
  huart5.Init.Mode = UART_MODE_TX_RX;
  huart5.Init.HwFlowCtl = UART_HWCONTROL_NONE;
  huart5.Init.OverSampling = UART_OVERSAMPLING_16;
  if (HAL_UART_Init(&huart5) != HAL_OK)
  {
    Error_Handler();
  }

}

static void MX_USART2_UART_Init(void)
{

  huart2.Instance = USART2;
  huart2.Init.BaudRate = 115200;
  huart2.Init.WordLength = UART_WORDLENGTH_8B;
  huart2.Init.StopBits = UART_STOPBITS_1;
  huart2.Init.Parity = UART_PARITY_NONE;
  huart2.Init.Mode = UART_MODE_TX_RX;
  huart2.Init.HwFlowCtl = UART_HWCONTROL_NONE;
  huart2.Init.OverSampling = UART_OVERSAMPLING_16;
  if (HAL_UART_Init(&huart2) != HAL_OK)
  {
    Error_Handler();
  }

}

static void MX_DMA_Init(void)
{

  /* DMA controller clock enable */
  __HAL_RCC_DMA1_CLK_ENABLE();

  /* DMA interrupt init */
  /* DMA1_Channel1_IRQn interrupt configuration */
  HAL_NVIC_SetPriority(DMA1_Channel1_IRQn, 0, 0);
  HAL_NVIC_EnableIRQ(DMA1_Channel1_IRQn);

}

static void MX_GPIO_Init(void)
{
  GPIO_InitTypeDef GPIO_InitStruct = {0};

  /* GPIO Ports Clock Enable */
  __HAL_RCC_GPIOC_CLK_ENABLE();
  __HAL_RCC_GPIOD_CLK_ENABLE();
  __HAL_RCC_GPIOA_CLK_ENABLE();
  __HAL_RCC_GPIOB_CLK_ENABLE();

  /*Configure GPIO pin Output Level */
  HAL_GPIO_WritePin(GPIOC, DO4_Pin|DO3_Pin|DO2_Pin|DO1_Pin
                          |DO0_Pin|Bypass_Pin|D_Braking_Pin, GPIO_PIN_RESET);

  /*Configure GPIO pin Output Level */
  HAL_GPIO_WritePin(GPIOB, Reset_Pin|Enable_Pin|LDAC_Pin, GPIO_PIN_RESET);

  /*Configure GPIO pin Output Level */
  HAL_GPIO_WritePin(W_R_4_GPIO_Port, W_R_4_Pin, GPIO_PIN_RESET);

  /*Configure GPIO pins : DO4_Pin DO3_Pin DO2_Pin DO1_Pin
                           DO0_Pin Bypass_Pin D_Braking_Pin */
  GPIO_InitStruct.Pin = DO4_Pin|DO3_Pin|DO2_Pin|DO1_Pin
                          |DO0_Pin|Bypass_Pin|D_Braking_Pin;
  GPIO_InitStruct.Mode = GPIO_MODE_OUTPUT_PP;
  GPIO_InitStruct.Pull = GPIO_NOPULL;
  GPIO_InitStruct.Speed = GPIO_SPEED_FREQ_LOW;
  HAL_GPIO_Init(GPIOC, &GPIO_InitStruct);

  /*Configure GPIO pins : Reset_Pin Enable_Pin LDAC_Pin */
  GPIO_InitStruct.Pin = Reset_Pin|Enable_Pin|LDAC_Pin;
  GPIO_InitStruct.Mode = GPIO_MODE_OUTPUT_PP;
  GPIO_InitStruct.Pull = GPIO_NOPULL;
  GPIO_InitStruct.Speed = GPIO_SPEED_FREQ_LOW;
  HAL_GPIO_Init(GPIOB, &GPIO_InitStruct);

  /*Configure GPIO pin : EXTI2_Fault_Pin */
  GPIO_InitStruct.Pin = EXTI2_Fault_Pin;
  GPIO_InitStruct.Mode = GPIO_MODE_IT_FALLING;
  GPIO_InitStruct.Pull = GPIO_PULLUP;
  HAL_GPIO_Init(EXTI2_Fault_GPIO_Port, &GPIO_InitStruct);

  /*Configure GPIO pin : QEI_Z_Pin */
  GPIO_InitStruct.Pin = QEI_Z_Pin;
  GPIO_InitStruct.Mode = GPIO_MODE_INPUT;
  GPIO_InitStruct.Pull = GPIO_PULLUP;
  HAL_GPIO_Init(QEI_Z_GPIO_Port, &GPIO_InitStruct);

  /*Configure GPIO pin : W_R_4_Pin */
  GPIO_InitStruct.Pin = W_R_4_Pin;
  GPIO_InitStruct.Mode = GPIO_MODE_OUTPUT_PP;
  GPIO_InitStruct.Pull = GPIO_NOPULL;
  GPIO_InitStruct.Speed = GPIO_SPEED_FREQ_LOW;
  HAL_GPIO_Init(W_R_4_GPIO_Port, &GPIO_InitStruct);

  /*Configure GPIO pins : DI0_Pin DI1_Pin DI2_Pin DI3_Pin
                           DI4_Pin DI5_Pin DI6_Pin */
  GPIO_InitStruct.Pin = DI0_Pin|DI1_Pin|DI2_Pin|DI3_Pin
                          |DI4_Pin|DI5_Pin|DI6_Pin;
  GPIO_InitStruct.Mode = GPIO_MODE_INPUT;
  GPIO_InitStruct.Pull = GPIO_PULLUP;
  HAL_GPIO_Init(GPIOB, &GPIO_InitStruct);

  /* EXTI interrupt init*/
  HAL_NVIC_SetPriority(EXTI2_IRQn, 0, 0);
  HAL_NVIC_EnableIRQ(EXTI2_IRQn);

}

/* USER CODE BEGIN 4 */
#ifdef __GNUC__
#define PUTCHAR_PROTOTYPE int __io_putchar(int ch)
#else
#define PUTCHAR_PROTOTYPE int fputc(int ch, FILE *f)
#endif /* __GNUC__ */

/**
  * @brief  Retargets the C library printf function to the USART5.
  * @param  None
  * @retval None
  */
PUTCHAR_PROTOTYPE
{
  HAL_UART_Transmit(&huart5, (uint8_t *)&ch, 1, HAL_MAX_DELAY);
  return ch;
}
/* USER CODE END 4 */

void Error_Handler(void)
{
  __disable_irq();
  while (1)
  {
  }
}

/************************ (C) COPYRIGHT STMicroelectronics *****END OF FILE****/
